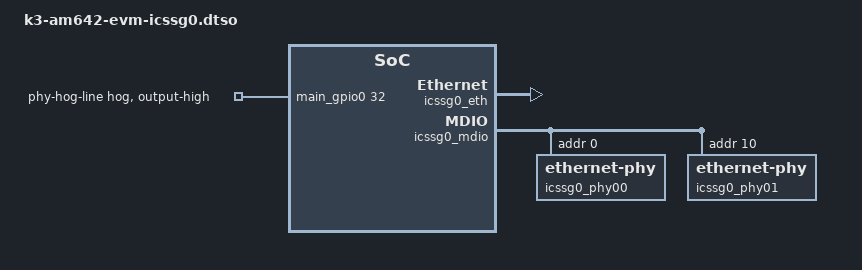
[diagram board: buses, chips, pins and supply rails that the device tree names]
// SPDX-License-Identifier: GPL-2.0-only OR MIT
/**
 * DT overlay for enabling ICSSG0 dual EMAC on AM642 EVM
 *
 * AM642 EVM Product link: https://www.ti.com/tool/TMDS64EVM
 * DP83TG720 daughter card link: https://www.ti.com/tool/DP83TG720-IND-SPE-EVM
 *
 * Copyright (C) 2020-2026 Texas Instruments Incorporated - https://www.ti.com/
 */

/dts-v1/;
/plugin/;

#include <dt-bindings/gpio/gpio.h>
#include "k3-pinctrl.h"

&{/} {
	icssg0_eth: icssg0-eth {
		compatible = "ti,am642-icssg-prueth";
		pinctrl-names = "default";
		pinctrl-0 = <&pru_icssg0_rgmii1_pins_default>, <&pru_icssg0_rgmii2_pins_default>;
		sram = <&oc_sram>;

		dmas = <&main_pktdma 0xc100 15>, /* egress slice 0 */
		       <&main_pktdma 0xc101 15>, /* egress slice 0 */
		       <&main_pktdma 0xc102 15>, /* egress slice 0 */
		       <&main_pktdma 0xc103 15>, /* egress slice 0 */
		       <&main_pktdma 0xc104 15>, /* egress slice 1 */
		       <&main_pktdma 0xc105 15>, /* egress slice 1 */
		       <&main_pktdma 0xc106 15>, /* egress slice 1 */
		       <&main_pktdma 0xc107 15>, /* egress slice 1 */
		       <&main_pktdma 0x4100 15>, /* ingress slice 0 */
		       <&main_pktdma 0x4101 15>; /* ingress slice 1 */
		dma-names = "tx0-0", "tx0-1", "tx0-2", "tx0-3",
			    "tx1-0", "tx1-1", "tx1-2", "tx1-3",
			    "rx0", "rx1";

		interrupt-parent = <&icssg0_intc>;
		interrupts = <24 0 2>, <25 1 3>;
		interrupt-names = "tx_ts0", "tx_ts1";

		ti,prus = <&pru0_0>, <&rtu0_0>, <&tx_pru0_0>, <&pru0_1>, <&rtu0_1>, <&tx_pru0_1>;
		firmware-name = "ti-pruss/am64x-sr2-pru0-prueth-fw.elf",
				"ti-pruss/am64x-sr2-rtu0-prueth-fw.elf",
				"ti-pruss/am64x-sr2-txpru0-prueth-fw.elf",
				"ti-pruss/am64x-sr2-pru1-prueth-fw.elf",
				"ti-pruss/am64x-sr2-rtu1-prueth-fw.elf",
				"ti-pruss/am64x-sr2-txpru1-prueth-fw.elf";

		ti,pruss-gp-mux-sel = <2>,	/* MII mode */
				      <2>,
				      <2>,
				      <2>,	/* MII mode */
				      <2>,
				      <2>;

		ti,mii-g-rt = <&icssg0_mii_g_rt>;
		ti,mii-rt = <&icssg0_mii_rt>;
		ti,iep = <&icssg0_iep0>,  <&icssg0_iep1>;
		ti,pa-stats = <&icssg0_pa_stats>;

		ethernet-ports {
			#address-cells = <1>;
			#size-cells = <0>;

			icssg0_emac0: port@0 {
				reg = <0>;
				phy-handle = <&icssg0_phy00>;
				phy-mode = "rgmii-id";
				ti,syscon-rgmii-delay = <&main_conf 0x4100>;
				/* Filled in by bootloader */
				local-mac-address = [00 00 00 00 00 00];
			};

			icssg0_emac1: port@1 {
				reg = <1>;
				phy-handle = <&icssg0_phy01>;
				phy-mode = "rgmii-id";
				ti,syscon-rgmii-delay = <&main_conf 0x4104>;
				/* Filled in by bootloader */
				local-mac-address = [00 00 00 00 00 00];
			};
		};
	};
};

&main_pmx0 {
	pru_icssg0_mdio_pins_default: pru-icssg0-mdio-pins {
		pinctrl-single,pins = <
			/* (P3) PRG0_MDIO0_MDC */
			AM64X_IOPAD(0x0204, PIN_OUTPUT, 0)
			/* (P2) PRG0_MDIO0_MDIO */
			AM64X_IOPAD(0x0200, PIN_INPUT, 0)
			/* (P16) GPIO0_32 - GPMC0_ADVn_ALE - GPIO_ETH0/1_RESETn# */
			AM64X_IOPAD(0x0084, PIN_OUTPUT, 7)
		>;
	};

	pru_icssg0_rgmii1_pins_default: pru-icssg0-rgmii1-pins {
		pinctrl-single,pins = <
			AM64X_IOPAD(0x0160, PIN_INPUT, 2)  /* (Y1) PRG0_PRU0_GPO0.PRG0_RGMII1_RD0 */
			AM64X_IOPAD(0x0164, PIN_INPUT, 2)  /* (R4) PRG0_PRU0_GPO1.PRG0_RGMII1_RD1 */
			AM64X_IOPAD(0x0168, PIN_INPUT, 2)  /* (U2) PRG0_PRU0_GPO2.PRG0_RGMII1_RD2 */
			AM64X_IOPAD(0x016c, PIN_INPUT, 2)  /* (V2) PRG0_PRU0_GPO3.PRG0_RGMII1_RD3 */
			AM64X_IOPAD(0x0178, PIN_INPUT, 2)  /* (T3) PRG0_PRU0_GPO6.PRG0_RGMII1_RXC */
			AM64X_IOPAD(0x0170, PIN_INPUT, 2)  /* (AA2) PRG0_PRU0_GPO4.PRG0_RGMII1_RX_CTL */
			AM64X_IOPAD(0x018c, PIN_OUTPUT, 2) /* (Y3) PRG0_PRU0_GPO11.PRG0_RGMII1_TD0 */
			AM64X_IOPAD(0x0190, PIN_OUTPUT, 2) /* (AA3) PRG0_PRU0_GPO12.PRG0_RGMII1_TD1 */
			AM64X_IOPAD(0x0194, PIN_OUTPUT, 2) /* (R6) PRG0_PRU0_GPO13.PRG0_RGMII1_TD2 */
			AM64X_IOPAD(0x0198, PIN_OUTPUT, 2) /* (V4) PRG0_PRU0_GPO14.PRG0_RGMII1_TD3 */
			AM64X_IOPAD(0x01a0, PIN_OUTPUT, 2) /* (U4) PRG0_PRU0_GPO16.PRG0_RGMII1_TXC */
			AM64X_IOPAD(0x019c, PIN_OUTPUT, 2) /* (T5) PRG0_PRU0_GPO15.PRG0_RGMII1_TX_CTL */
		>;
	};

	pru_icssg0_rgmii2_pins_default: pru-icssg0-rgmii2-pins {
		pinctrl-single,pins = <
			AM64X_IOPAD(0x01b0, PIN_INPUT, 2)  /* (Y2) PRG0_PRU1_GPO0.PRG0_RGMII2_RD0 */
			AM64X_IOPAD(0x01b4, PIN_INPUT, 2)  /* (W2) PRG0_PRU1_GPO1.PRG0_RGMII2_RD1 */
			AM64X_IOPAD(0x01b8, PIN_INPUT, 2)  /* (V3) PRG0_PRU1_GPO2.PRG0_RGMII2_RD2 */
			AM64X_IOPAD(0x01bc, PIN_INPUT, 2)  /* (T4) PRG0_PRU1_GPO3.PRG0_RGMII2_RD3 */
			AM64X_IOPAD(0x01c8, PIN_INPUT, 2)  /* (R5) PRG0_PRU1_GPO6.PRG0_RGMII2_RXC */
			AM64X_IOPAD(0x01c0, PIN_INPUT, 2)  /* (W3) PRG0_PRU1_GPO4.PRG0_RGMII2_RX_CTL */
			AM64X_IOPAD(0x01dc, PIN_OUTPUT, 2) /* (W4) PRG0_PRU1_GPO11.PRG0_RGMII2_TD0 */
			AM64X_IOPAD(0x01e0, PIN_OUTPUT, 2) /* (Y4) PRG0_PRU1_GPO12.PRG0_RGMII2_TD1 */
			AM64X_IOPAD(0x01e4, PIN_OUTPUT, 2) /* (T6) PRG0_PRU1_GPO13.PRG0_RGMII2_TD2 */
			AM64X_IOPAD(0x01e8, PIN_OUTPUT, 2) /* (U6) PRG0_PRU1_GPO14.PRG0_RGMII2_TD3 */
			AM64X_IOPAD(0x01f0, PIN_OUTPUT, 2) /* (AA4) PRG0_PRU1_GPO16.PRG0_RGMII2_TXC */
			AM64X_IOPAD(0x01ec, PIN_OUTPUT, 2) /* (U5) PRG0_PRU1_GPO15.PRG0_RGMII2_TX_CTL */
		>;
	};

	icssg0_iep0_pins_default: icssg0-iep0-pins {
		pinctrl-single,pins = <
			AM64X_IOPAD(0x01ac, PIN_OUTPUT, 2) /* (W1) PRG0_PRU0_GPO19.PRG0_IEP0_EDC_SYNC_OUT0 */
		>;
	};
};

&icssg0_mdio {
	status = "okay";
	pinctrl-names = "default";
	pinctrl-0 = <&pru_icssg0_mdio_pins_default>;
	#address-cells = <1>;
	#size-cells = <0>;

	icssg0_phy00: ethernet-phy@0 {
		reg = <0x0>;
	};

	icssg0_phy01: ethernet-phy@a {
		reg = <0xa>;
	};
};

&icssg0_iep0 {
	pinctrl-names = "default";
	pinctrl-0 = <&icssg0_iep0_pins_default>;
};

&main_gpio0 {
	phy-line-hog {
		gpio-hog;
		gpios = <32 GPIO_ACTIVE_HIGH>;
		output-high;
		line-name = "phy-hog-line";
	};
};
